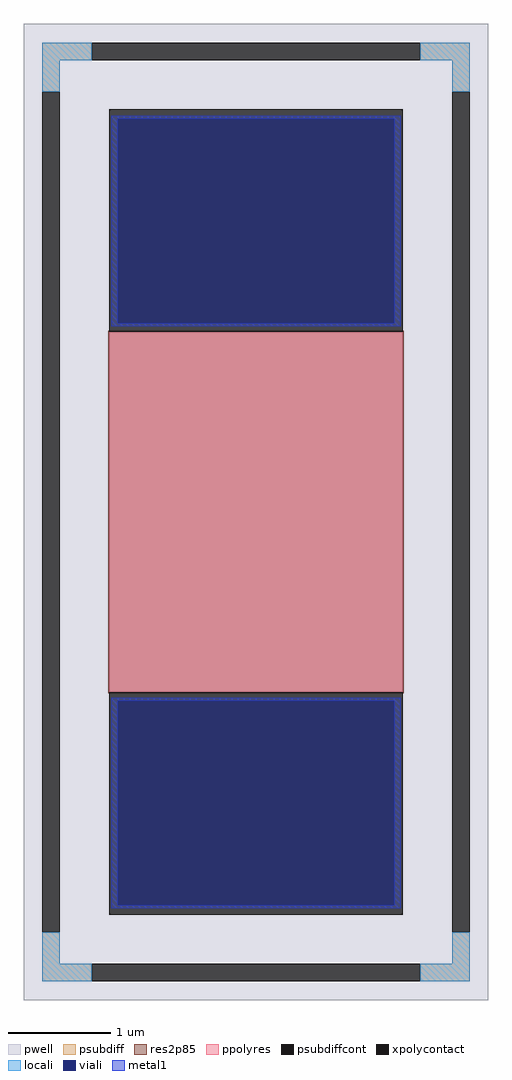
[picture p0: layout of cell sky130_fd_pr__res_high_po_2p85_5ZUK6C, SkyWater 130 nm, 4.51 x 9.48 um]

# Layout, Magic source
magic
tech sky130B
magscale 1 2
<< pwell >>
rect -451 -948 451 948
<< psubdiff >>
rect -415 878 -319 912
rect 319 878 415 912
rect -415 816 -381 878
rect 381 816 415 878
rect -415 -878 -381 -816
rect 381 -878 415 -816
rect -415 -912 -319 -878
rect 319 -912 415 -878
<< psubdiffcont >>
rect -319 878 319 912
rect -415 -816 -381 816
rect 381 -816 415 816
rect -319 -912 319 -878
<< xpolycontact >>
rect -285 350 285 782
rect -285 -782 285 -350
<< ppolyres >>
rect -285 -350 285 350
<< locali >>
rect -415 878 -319 912
rect 319 878 415 912
rect -415 816 -381 878
rect 381 816 415 878
rect -415 -878 -381 -816
rect 381 -878 415 -816
rect -415 -912 -319 -878
rect 319 -912 415 -878
<< viali >>
rect -269 367 269 764
rect -269 -764 269 -367
<< metal1 >>
rect -281 764 281 770
rect -281 367 -269 764
rect 269 367 281 764
rect -281 361 281 367
rect -281 -367 281 -361
rect -281 -764 -269 -367
rect 269 -764 281 -367
rect -281 -770 281 -764
<< res2p85 >>
rect -287 -352 287 352
<< properties >>
string FIXED_BBOX -398 -895 398 895
string gencell sky130_fd_pr__res_high_po_2p85
string library sky130
string parameters w 2.850 l 3.5 m 1 nx 1 wmin 2.850 lmin 0.50 rho 319.8 val 529.452 dummy 0 dw 0.0 term 194.82 sterm 0.0 caplen 0 guard 1 glc 1 grc 1 gtc 1 gbc 1 compatible {sky130_fd_pr__res_high_po_0p35  sky130_fd_pr__res_high_po_0p69 sky130_fd_pr__res_high_po_1p41  sky130_fd_pr__res_high_po_2p85 sky130_fd_pr__res_high_po_5p73} full_metal 1 wmax 2.850 n_guard 0 hv_guard 0 vias 1 viagb 0 viagt 0 viagl 0 viagr 0
<< end >>
